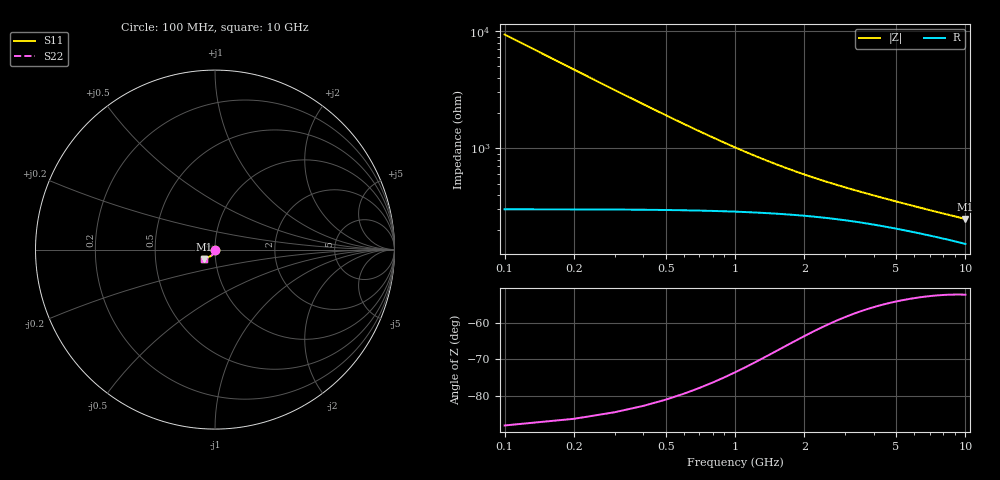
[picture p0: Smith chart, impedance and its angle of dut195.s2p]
! Touchstone file exported from HFSS 2024.1.0
!  File:  C:/UserFiles/LocalFiles/RDL_TSV_Batchsim/temp_TSV1_195_1778756934.aedt
!  Generated:  07:12:46 PM May 14, 2026
!  Design:  TSV1
!  Project:  temp_TSV1_195_1778756934
!  Setup:  Setup1
!  Solution:  Sweep
! Variables:
!  dtsv = 23.38um
!  hbump = 3um
!  htsv = 59.71um
!  lrdl = 252.1521522um
!  p = 40
!  p1 = 54.19um
!  t = 500um
!  trdl = 3um
!  wrdl = 24.89489489um
# GHz S MA R 50.000000
! Terminal data exported
! Port[1] = TSV22_T1
! Port[2] = TSV22_T2
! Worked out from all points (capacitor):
!   100 points, 100 MHz to 10 GHz, reference 50 ohm
!   read as one part in shunt: C = 170 fF near 100 MHz
!   lowest |Z| = 249 ohm at 10 GHz (marker M1)
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0.1  0.002439 -90.5  0.9998 -0.2  0.9998 -0.2  0.002439 -90.5
! Gamma 0 0 0 0
! Port Impedance 50 0 50 0
0.2  0.004864 -93.3  0.9996 -0.3  0.9996 -0.3  0.004864 -93.3
0.3  0.007264 -95.5  0.9991 -0.5  0.9991 -0.5  0.007264 -95.5
0.4  0.009626 -97.6  0.9985 -0.6  0.9985 -0.6  0.009626 -97.6
0.5  0.01194 -99.6  0.9977 -0.8  0.9977 -0.8  0.01194 -99.6
0.6  0.0142 -101.5  0.9969 -0.9  0.9969 -0.9  0.0142 -101.5
0.7  0.01638 -103.3  0.9959 -1.1  0.9959 -1.1  0.01638 -103.3
0.8  0.0185 -105.1  0.9948 -1.2  0.9948 -1.2  0.0185 -105.1
0.9  0.02054 -106.8  0.9937 -1.3  0.9937 -1.3  0.02054 -106.8
1.1  0.02437 -109.9  0.9914 -1.6  0.9914 -1.6  0.02437 -109.9
1.4  0.02951 -114.0  0.9877 -1.9  0.9877 -1.9  0.02951 -114.0
1.6  0.03256 -116.4  0.9853 -2.0  0.9853 -2.0  0.03256 -116.4
1.8  0.03533 -118.5  0.983 -2.2  0.983 -2.2  0.03533 -118.5
2.1  0.03906 -121.2  0.9797 -2.4  0.9797 -2.4  0.03906 -121.2
2.5  0.04336 -124.2  0.9757 -2.6  0.9757 -2.6  0.04336 -124.2
2.9  0.04708 -126.5  0.9722 -2.8  0.9722 -2.8  0.04708 -126.5
3.4  0.05115 -128.8  0.9682 -3.0  0.9682 -3.0  0.05115 -128.8
4.2  0.05674 -131.4  0.9629 -3.4  0.9629 -3.4  0.05674 -131.4
5.1  0.0621 -133.5  0.9578 -3.7  0.9578 -3.7  0.0621 -133.5
6.7  0.07001 -136.1  0.9505 -4.2  0.9505 -4.2  0.07001 -136.1
8.4  0.07685 -137.8  0.9443 -4.8  0.9443 -4.8  0.07685 -137.8
10  0.0823 -138.9  0.9396 -5.3  0.9396 -5.3  0.0823 -138.9
